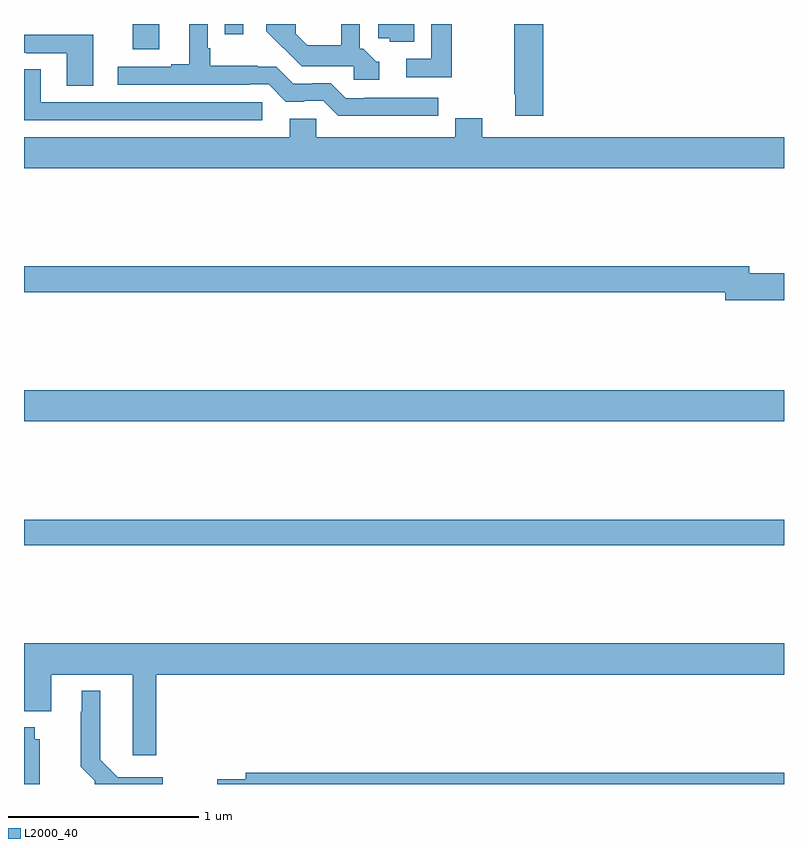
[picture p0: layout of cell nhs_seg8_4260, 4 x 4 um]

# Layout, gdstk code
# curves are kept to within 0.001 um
import gdstk
lib = gdstk.Library(unit=1e-6, precision=1e-09)
def R(c, l, rs):  # rectangles x0, y0, x1, y1
    for r in rs: c.add(gdstk.rectangle(r[:2], r[2:], *l))
def P(c, l, *ps):  # polygons
    for p in ps: c.add(gdstk.Polygon(p, *l))
L2000_40 = (2000, 40)

nhs_seg8_4260 = lib.new_cell('nhs_seg8_4260')
R(nhs_seg8_4260, L2000_40, [(371,1141.156,375,1141.292), (371,1141.808,375,1141.972), (371.573,1143.768,371.713,1143.9), (372.057,1143.846,372.153,1143.9)])
P(nhs_seg8_4260, L2000_40, [(372.851,1143.417),(373.18,1143.417),(373.18,1143.513),(372.793,1143.513),(372.793,1143.51),(372.693,1143.51),(372.615,1143.588),(372.518,1143.588),(372.518,1143.585),(372.417,1143.585),(372.327,1143.675),(372.23,1143.675),(372.23,1143.679),(371.98,1143.679),(371.98,1143.772),(371.967,1143.772),(371.967,1143.9),(371.87,1143.9),(371.87,1143.688),(371.774,1143.688),(371.774,1143.675),(371.493,1143.675),(371.493,1143.579),(372.188,1143.579),(372.188,1143.582),(372.288,1143.582),(372.378,1143.492),(372.476,1143.492),(372.476,1143.495),(372.576,1143.495),(372.655,1143.416)],
  [(373.252,1143.9),(373.143,1143.9),(373.143,1143.717),(373.011,1143.717),(373.011,1143.621),(373.252,1143.621)],
  [(372.871,1143.702),(372.855,1143.702),(372.786,1143.771),(372.768,1143.771),(372.768,1143.9),(372.67,1143.9),(372.67,1143.789),(372.491,1143.789),(372.43,1143.85),(372.43,1143.9),(372.276,1143.9),(372.276,1143.862),(372.461,1143.678),(372.735,1143.678),(372.735,1143.606),(372.871,1143.606)],
  [(373.733,1143.9),(373.579,1143.9),(373.579,1143.529),(373.586,1143.529),(373.586,1143.417),(373.733,1143.417)],
  [(373.053,1143.9),(372.864,1143.9),(372.864,1143.825),(372.924,1143.825),(372.924,1143.806),(373.053,1143.806)],
  [(371.365,1143.843),(371,1143.843),(371,1143.75),(371.011,1143.75),(371.011,1143.747),(371.225,1143.747),(371.225,1143.574),(371.365,1143.574)],
  [(372.253,1143.489),(371.089,1143.489),(371.089,1143.662),(371,1143.662),(371,1143.393),(372.253,1143.393)],
  [(375,1143.304),(373.411,1143.304),(373.411,1143.403),(373.271,1143.403),(373.271,1143.304),(372.537,1143.304),(372.537,1143.402),(372.398,1143.402),(372.398,1143.304),(371,1143.304),(371,1143.14),(375,1143.14)],
  [(375,1142.588),(374.818,1142.588),(374.818,1142.624),(371,1142.624),(371,1142.488),(374.69,1142.488),(374.69,1142.446),(375,1142.446)],
  [(371.696,1140.476),(375,1140.476),(375,1140.64),(371,1140.64),(371,1140.284),(371.143,1140.284),(371.143,1140.476),(371.573,1140.476),(371.573,1140.051),(371.696,1140.051)],
  [(371.731,1139.935),(371.493,1139.935),(371.401,1140.028),(371.401,1140.391),(371.303,1140.391),(371.303,1140.281),(371.299,1140.281),(371.299,1139.99),(371.373,1139.916),(371.373,1139.9),(371.731,1139.9)],
  [(371.083,1140.135),(371.056,1140.135),(371.056,1140.199),(371,1140.199),(371,1139.9),(371.083,1139.9)],
  [(375,1139.96),(372.167,1139.96),(372.167,1139.924),(372.018,1139.924),(372.018,1139.9),(375,1139.9)])

lib.write_gds('nhs_seg8_4260.gds')
